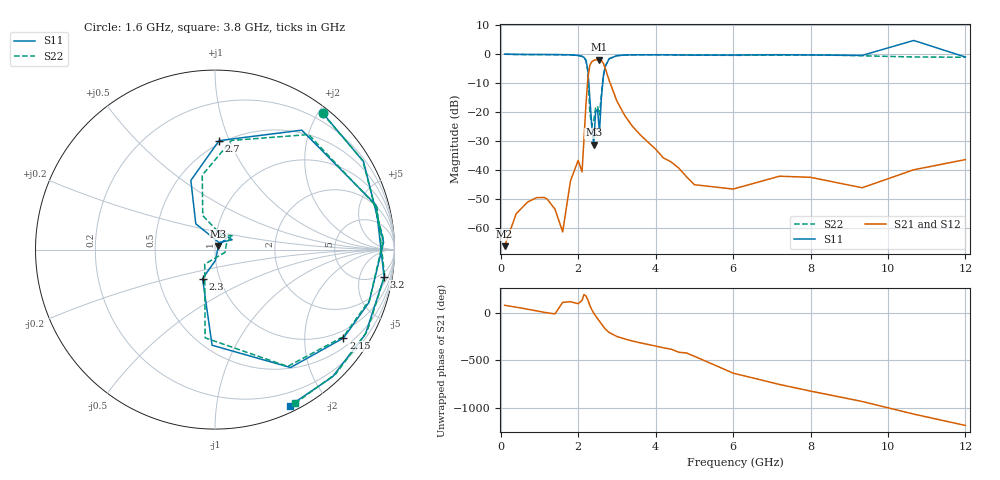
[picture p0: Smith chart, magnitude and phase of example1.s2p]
! Mini-Circuits
! S2P DATA File Format
! Type: BAND PASS FILTER
! Model: BFCN-2450+
!Agilent Technologies,N5230A,MY45001446,A.07.50.26
!Agilent N5230A: A.07.50.26
!Date: Friday, October 19, 2012 15:35:47
!Correction: S11(Full 2 Port(1,2))
!S21(Full 2 Port(1,2))
!S12(Full 2 Port(1,2))
!S22(Full 2 Port(1,2))
!S2P File: Measurements: S11, S21, S12, S22:
# Hz S  dB  R 50
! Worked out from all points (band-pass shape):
!   41 points, 100 MHz to 12 GHz, reference 50 ohm
!   highest |S21| = -1.95 dB at 2.55 GHz (marker M1); lowest = -66.3 dB at 100 MHz (marker M2)
!   |S21| within 3 dB of the highest: 2.289 GHz to 2.7 GHz (410.3 MHz wide, 16.4 % of centre)
!   lowest |S11| = -31.3 dB at 2.4 GHz (marker M3), VSWR 1.06, Z = 51.9 + j2.03 ohm
!   |S11| at or under -10 dB: 2.274 GHz to 2.634 GHz (361 MHz wide, 14.7 % of centre)
!   |S22| runs from -24.8 to -0.1 dB; largest |S21 - S12| = 0.0011
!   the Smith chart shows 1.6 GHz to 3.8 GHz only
!   S11 on the Smith chart (normalised r, x): 1.6 GHz: 0.08, +2.06; 2.15 GHz: 0.76, -3.05; 2.3 GHz: 0.83, -0.28; 2.7 GHz: 0.48, +0.92; 3.2 GHz: 3, -11; 3.8 GHz: 0.06, -1.59
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1e8  -0.10 172.0  -66.29 76.2  -66.32 77.0  -0.12 171.7
9.28e8  -0.21 108.6  -49.55 17.9  -49.52 17.8  -0.26 107.7
1.6e9  -0.28 51.7  -61.37 107.3  -61.35 107.6  -0.29 51.7
1.8e9  -0.34 30.6  -43.87 114.4  -43.86 114.3  -0.34 31.1
2.1e9  -0.85 -18.9  -40.67 128.4  -40.67 128.3  -0.86 -18.1
2.15e9  -1.22 -34.5  -29.39 -170.8  -29.39 -170.8  -1.27 -34.1
2.25e9  -5.46 -91.7  -8.48 133.7  -8.48 133.6  -6.11 -96.4
2.3e9  -15.10 -113.2  -3.98 77.5  -3.98 77.5  -20.05 -125.3
2.4e9  -31.30 45.9  -2.25 -3.7  -2.25 -3.8  -23.11 25.0
2.45e9  -19.97 45.1  -2.05 -34.5  -2.05 -34.5  -18.62 40.7
2.55e9  -26.96 60.2  -1.95 -90.2  -1.95 -90.2  -21.05 66.0
2.7e9  -4.33 87.9  -4.96 -171.9  -4.97 -171.9  -4.22 81.4
3.2e9  -0.40 -9.2  -21.20 84.3  -21.24 84.3  -0.38 -8.9
3.8e9  -0.32 -64.4  -30.39 26.2  -30.41 26.2  -0.30 -62.3
4.2e9  -0.33 -96.4  -35.86 -8.8  -35.88 -8.8  -0.29 -94.3
5e9  -0.42 -158.7  -45.10 -97.6  -45.14 -97.7  -0.44 -156.5
6e9  -0.41 125.2  -46.61 85.4  -46.60 85.5  -0.50 127.5
7.2e9  -0.29 37.2  -42.18 -33.7  -42.23 -33.8  -0.43 43.0
8e9  -0.38 -23.1  -42.55 -103.1  -42.60 -103.5  -0.30 -13.5
9.333333e9  -0.52 -124.2  -46.16 147.8  -46.13 147.4  -0.66 -116.8
1.066667e10  4.63 86.5  -39.95 15.6  -39.34 16.2  -1.07 136.1
1.2e10  -1.09 28.3  -36.45 -103.4  -36.44 -103.4  -1.15 32.7
